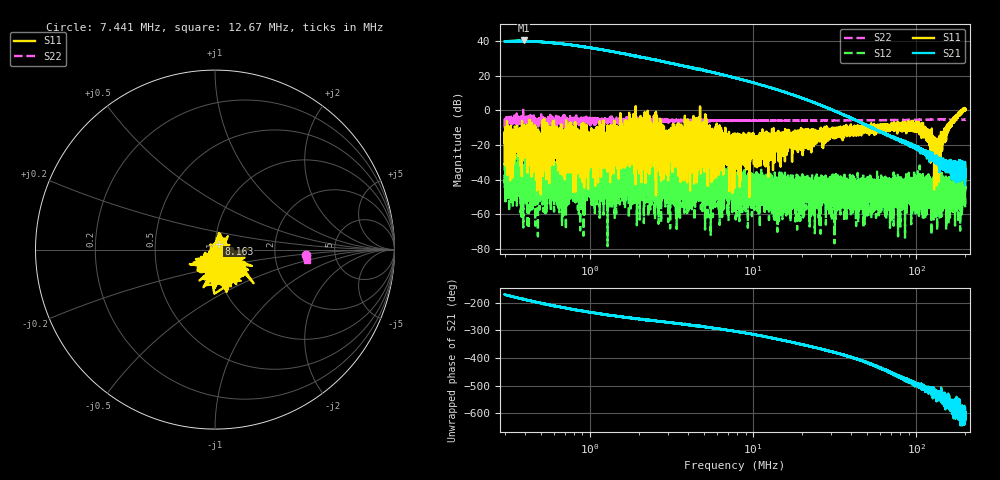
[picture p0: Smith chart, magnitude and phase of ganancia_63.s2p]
# Hz S DB R 50
! CMT, M5065, 19127446, 24.2.4/2
! Date: 11/1/2024 4:53:02 PM
! Data: Format (Calibration Info)
! Freq	S11:dB/Ang(F2)	S21:dB/Ang(F2)	S12:dB/Ang(F2)	S22:dB/Ang(F2)
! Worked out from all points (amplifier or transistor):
!   9000 points, 300 kHz to 200 MHz, reference 50 ohm
!   highest |S21| = 40.4 dB at 391.7 kHz (marker M1)
!   |S21| within 3 dB of that: start of sweep to 808.3 kHz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
!   unconditionally stable (mu >= 1): 5.338 MHz to 188 MHz; 188.2 MHz to 189.6 MHz; 191.6215 MHz to 192.2395 MHz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
!   at 886.8 kHz: K = 1.97, MAG = 38.4 dB, |S12| = -51.2 dB
!   at 7.749 MHz: K = 3.97, MAG = 20.7 dB, |S12| = -40.2 dB
!   at 200 MHz: K = -337.63, MSG = 3.6 dB, |S12| = -43.6 dB
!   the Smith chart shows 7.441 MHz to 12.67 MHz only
!   S11 on the Smith chart (normalised r, x): 7.441 MHz: 0.84, -0.18; 8.163 MHz: 1.04, +0.07; 12.67 MHz: 1.03, -0.32
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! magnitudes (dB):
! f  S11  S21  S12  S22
! 300 kHz  -12.6  39.9  -29.8  -9.8
! 310.6 kHz  -15.8  39.9  -37.1  -6.0
! 391.7 kHz  -16.7  40.4  -34.6  -4.4
! 886.8 kHz  -25.3  37.0  -51.2  -5.8
! 2.067 MHz  -35.4  30.7  -23.3  -8.6
! 2.621 MHz  -18.1  28.8  -38.1  -5.5
! 4.145 MHz  -26.4  24.8  -41.2  -6.1
! 4.727 MHz  -22.7  23.6  -43.6  -5.9
! 5.326 MHz  -24.2  22.5  -41.2  -5.9
! 7.441 MHz  -17.8  19.3  -55.8  -5.9
! 7.749 MHz  -13.2  18.9  -40.2  -5.7
! 8.163 MHz  -28.2  18.3  -47.3  -5.9
! 12.67 MHz  -16.0  13.3  -41.2  -5.8
! 18.56 MHz  -16.3  8.1  -44.6  -5.8
! 21.29 MHz  -14.3  6.2  -41.8  -5.8
! 22.91 MHz  -17.1  5.0  -43.9  -5.8
! 67.71 MHz  -10.8  -14.3  -45.5  -5.5
! 107.3 MHz  -9.7  -22.6  -41.6  -5.4
! 120.9 MHz  -13.4  -26.4  -46.3  -5.3
! 133.9 MHz  -20.0  -28.5  -49.0  -5.2
! 158.7 MHz  -10.2  -31.0  -52.1  -5.2
! 200 MHz  0.4  -36.4  -43.6  -5.3
